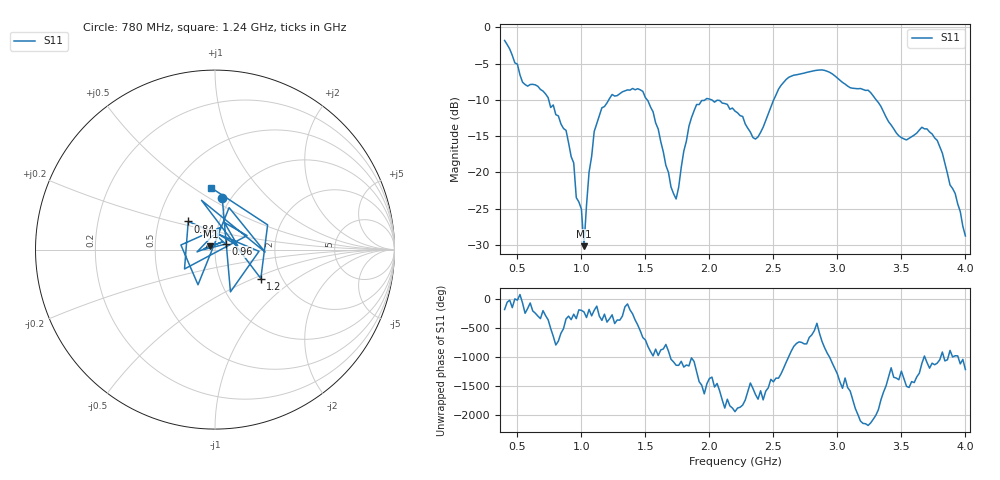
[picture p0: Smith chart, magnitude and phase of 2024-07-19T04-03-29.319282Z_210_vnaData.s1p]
!Created with skrf (http://scikit-rf.org).
# Hz S RI R 50.0
!freq ReS11 ImS11
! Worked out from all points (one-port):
!   181 points, 400 MHz to 4 GHz, reference 50 ohm
!   lowest |S11| = -30.2 dB at 1.02 GHz (marker M1), VSWR 1.06, Z = 47.5 + j1.71 ohm
!   |S11| at or under -10 dB: 744.8 MHz to 1.213 GHz (468.4 MHz wide, 47.8 % of centre); 2.02 GHz to 2.502 GHz (481.5 MHz wide, 21.3 % of centre); 3.304 GHz to end of sweep (the widest 3 of 4)
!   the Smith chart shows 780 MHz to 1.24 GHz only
!   S11 on the Smith chart (normalised r, x): 780 MHz: 0.91, +0.58; 840 MHz: 0.71, +0.23; 960 MHz: 1.12, +0.07; 1.2 GHz: 1.57, -0.56; 1.24 GHz: 0.76, +0.59
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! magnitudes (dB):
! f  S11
! 400 MHz  -1.8
! 540 MHz  -7.5
! 780 MHz  -10.7
! 840 MHz  -13.3
! 860 MHz  -13.9
! 940 MHz  -18.7
! 960 MHz  -23.5
! 1 GHz  -25.1
! 1.02 GHz  -30.2
! 1.06 GHz  -19.9
! 1.1 GHz  -14.3
! 1.2 GHz  -10.4
! 1.24 GHz  -9.2
! 1.3 GHz  -9.1
! 1.48 GHz  -8.8
! 1.6 GHz  -14.0
! 1.7 GHz  -22.0
! 1.76 GHz  -22.0
! 1.84 GHz  -13.6
! 1.9 GHz  -10.6
! 2.2 GHz  -11.5
! 2.36 GHz  -15.4
! 2.66 GHz  -6.6
! 3.1 GHz  -8.3
! 3.24 GHz  -8.7
! 3.56 GHz  -15.3
! 3.78 GHz  -15.6
! 4 GHz  -28.8
